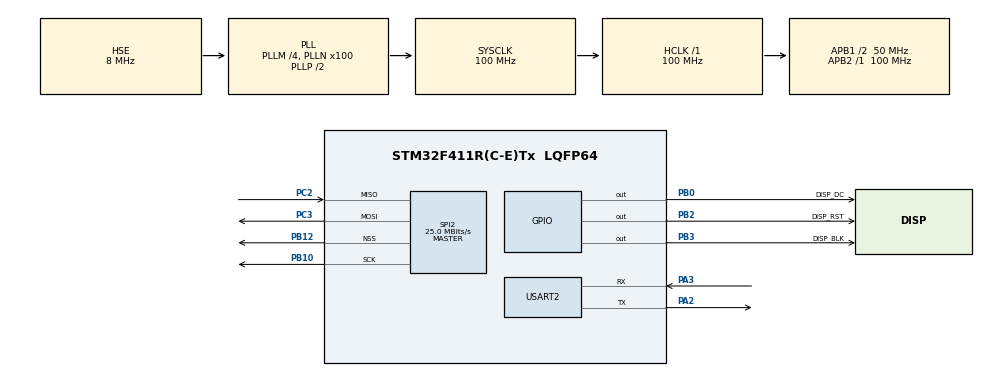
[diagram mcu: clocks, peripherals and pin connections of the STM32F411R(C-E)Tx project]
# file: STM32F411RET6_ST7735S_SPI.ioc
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Mcu.Family=STM32F4
Mcu.Name=STM32F411R(C-E)Tx
Mcu.Package=LQFP64
NVIC.PriorityGroup=NVIC_PRIORITYGROUP_4
NVIC.RCC_IRQn=true\:0\:0\:false\:false\:true\:true\:false\:true
NVIC.USART2_IRQn=true\:0\:0\:false\:false\:true\:true\:true\:true
PA2.Mode=Asynchronous
PA2.Signal=USART2_TX
PA3.Mode=Asynchronous
PA3.Signal=USART2_RX
PB0.GPIO_Label=DISP_DC
PB0.Signal=GPIO_Output
PB10.Mode=Full_Duplex_Master
PB10.Signal=SPI2_SCK
PB12.Mode=NSS_Signal_Hard_Output
PB12.Signal=SPI2_NSS
PB2.GPIO_Label=DISP_RST
PB2.Signal=GPIO_Output
PB3.GPIO_Label=DISP_BLK
PB3.Signal=GPIO_Output
PC2.Mode=Full_Duplex_Master
PC2.Signal=SPI2_MISO
PC3.Mode=Full_Duplex_Master
PC3.Signal=SPI2_MOSI
PH0\ -\ OSC_IN.Mode=HSE-External-Oscillator
PH0\ -\ OSC_IN.Signal=RCC_OSC_IN
PH1\ -\ OSC_OUT.Mode=HSE-External-Oscillator
PH1\ -\ OSC_OUT.Signal=RCC_OSC_OUT
ProjectManager.HeapSize=0x200
ProjectManager.StackSize=0x400
ProjectManager.TargetToolchain=STM32CubeIDE
RCC.48MHZClocksFreq_Value=50000000
RCC.AHBFreq_Value=100000000
RCC.APB1CLKDivider=RCC_HCLK_DIV2
RCC.APB1Freq_Value=50000000
RCC.APB1TimFreq_Value=100000000
RCC.APB2Freq_Value=100000000
RCC.APB2TimFreq_Value=100000000
RCC.CortexFreq_Value=100000000
RCC.HCLKFreq_Value=100000000
RCC.HSE_VALUE=8000000
RCC.HSI_VALUE=16000000
RCC.LSE_VALUE=32768
RCC.PLLM=4
RCC.PLLN=100
RCC.PLLSourceVirtual=RCC_PLLSOURCE_HSE
RCC.SYSCLKFreq_VALUE=100000000
RCC.SYSCLKSource=RCC_SYSCLKSOURCE_PLLCLK
RCC.VCOOutputFreq_Value=200000000
SPI2.CalculateBaudRate=25.0 MBits/s
SPI2.Direction=SPI_DIRECTION_2LINES
SPI2.Mode=SPI_MODE_MASTER
SPI2.VirtualNSS=VM_NSSHARD
SPI2.VirtualType=VM_MASTER
USART2.VirtualMode=VM_ASYNC
board=custom

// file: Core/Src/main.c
/* USER CODE BEGIN Header */
/**
 ******************************************************************************
 * @file           : main.c
 * @brief          : Main program body
 ******************************************************************************
 * @attention
 *
 * Copyright (c) 2024 STMicroelectronics.
 * All rights reserved.
 *
 * This software is licensed under terms that can be found in the LICENSE file
 * in the root directory of this software component.
 * If no LICENSE file comes with this software, it is provided AS-IS.
 *
 ******************************************************************************
 */
/* USER CODE END Header */
#include "main.h"

/* USER CODE BEGIN Includes */
#define PLATFORM_STM32_HAL

#include <xuart.h>
#include <display/ST7735S.h>

/* USER CODE END Includes */

SPI_HandleTypeDef hspi2;

UART_HandleTypeDef huart2;

/* USER CODE BEGIN PV */
UARTLogger logger(&huart2);

/* USER CODE END PV */

void SystemClock_Config(void);
static void MX_GPIO_Init(void);
static void MX_USART2_UART_Init(void);
static void MX_SPI2_Init(void);

int main(void)
{

  /* MCU Configuration--------------------------------------------------------*/

  /* Reset of all peripherals, Initializes the Flash interface and the Systick. */
  HAL_Init();

  /* Configure the system clock */
  SystemClock_Config();

  /* Initialize all configured peripherals */
  MX_GPIO_Init();
  MX_USART2_UART_Init();
  MX_SPI2_Init();
  /* USER CODE BEGIN 2 */
    /*HAL_GPIO_WritePin(GPIOB, GPIO_PIN_12, GPIO_PIN_RESET);
    HAL_GPIO_WritePin(DISP_DC_GPIO_Port, DISP_DC_Pin, GPIO_PIN_RESET);
    HAL_GPIO_WritePin(DISP_RST_GPIO_Port, DISP_RST_Pin, GPIO_PIN_SET);
    HAL_GPIO_WritePin(DISP_BLK_GPIO_Port, DISP_BLK_Pin, GPIO_PIN_RESET);*/
  HAL_GPIO_WritePin(DISP_BLK_GPIO_Port, DISP_BLK_Pin, GPIO_PIN_SET);
    HAL_Delay(1000);

    SPIConnectionParams spiParams { .CS_PORT = GPIOB, .CS_Pin = GPIO_PIN_12 };

    SPIPollingModeMaster spi(&hspi2, spiParams);
    ST7735InitParams params {
        .DC_PORT = DISP_DC_GPIO_Port,
        .RS_PORT = DISP_RST_GPIO_Port,
        .CS_PORT = GPIOB,
        .DC_Pin = DISP_DC_Pin,
        .RS_Pin = DISP_RST_Pin,
        .CS_Pin = GPIO_PIN_12,
    };
    ST7735S display(&spi, params);
    display.setColorMode(ST7735ColorMode::ColorMode16);
    display.init();
#define ST7735_X_SIZE                                                   128
#define ST7735_Y_SIZE                                                   160

  /* USER CODE END 2 */
    //display.drawRect(0, 0, ST7735_X_SIZE, ST7735_Y_SIZE, ST7735_COLOR_RED);
    /*for (int i = 0; i < 14; i += 2) {
        display.drawRectangle(ST7735_COLOR_RED, i * 10, 0, 10, 160);
        display.drawRectangle(ST7735_COLOR_BLUE, (i + 1) * 10, 0, 10, 160);
    }*/

    display.fillRectangle(ST7735_COLOR_16(0, 0xFF, 0xFF), 0, 0, ST7735_X_SIZE, ST7735_Y_SIZE);
    for (uint16_t x = 0; x < 100; ++x) {
        display.setPixel(ST7735_COLOR_16(0xFF, 0xFF, 0), x, x);
    }

    display.drawLine(ST7735_COLOR_16(0xFF, 0, 0), 15, 0, 45, 160);

  /* Infinite loop */
    while (1) {

    }
}

void SystemClock_Config(void)
{
  RCC_OscInitTypeDef RCC_OscInitStruct = {0};
  RCC_ClkInitTypeDef RCC_ClkInitStruct = {0};

  /** Configure the main internal regulator output voltage
  */
  __HAL_RCC_PWR_CLK_ENABLE();
  __HAL_PWR_VOLTAGESCALING_CONFIG(PWR_REGULATOR_VOLTAGE_SCALE1);

  /** Initializes the RCC Oscillators according to the specified parameters
  * in the RCC_OscInitTypeDef structure.
  */
  RCC_OscInitStruct.OscillatorType = RCC_OSCILLATORTYPE_HSE;
  RCC_OscInitStruct.HSEState = RCC_HSE_ON;
  RCC_OscInitStruct.PLL.PLLState = RCC_PLL_ON;
  RCC_OscInitStruct.PLL.PLLSource = RCC_PLLSOURCE_HSE;
  RCC_OscInitStruct.PLL.PLLM = 4;
  RCC_OscInitStruct.PLL.PLLN = 100;
  RCC_OscInitStruct.PLL.PLLP = RCC_PLLP_DIV2;
  RCC_OscInitStruct.PLL.PLLQ = 4;
  if (HAL_RCC_OscConfig(&RCC_OscInitStruct) != HAL_OK)
  {
    Error_Handler();
  }

  /** Initializes the CPU, AHB and APB buses clocks
  */
  RCC_ClkInitStruct.ClockType = RCC_CLOCKTYPE_HCLK|RCC_CLOCKTYPE_SYSCLK
                              |RCC_CLOCKTYPE_PCLK1|RCC_CLOCKTYPE_PCLK2;
  RCC_ClkInitStruct.SYSCLKSource = RCC_SYSCLKSOURCE_PLLCLK;
  RCC_ClkInitStruct.AHBCLKDivider = RCC_SYSCLK_DIV1;
  RCC_ClkInitStruct.APB1CLKDivider = RCC_HCLK_DIV2;
  RCC_ClkInitStruct.APB2CLKDivider = RCC_HCLK_DIV1;

  if (HAL_RCC_ClockConfig(&RCC_ClkInitStruct, FLASH_LATENCY_3) != HAL_OK)
  {
    Error_Handler();
  }
}

static void MX_SPI2_Init(void)
{

  /* SPI2 parameter configuration*/
  hspi2.Instance = SPI2;
  hspi2.Init.Mode = SPI_MODE_MASTER;
  hspi2.Init.Direction = SPI_DIRECTION_2LINES;
  hspi2.Init.DataSize = SPI_DATASIZE_8BIT;
  hspi2.Init.CLKPolarity = SPI_POLARITY_LOW;
  hspi2.Init.CLKPhase = SPI_PHASE_1EDGE;
  hspi2.Init.NSS = SPI_NSS_HARD_OUTPUT;
  hspi2.Init.BaudRatePrescaler = SPI_BAUDRATEPRESCALER_2;
  hspi2.Init.FirstBit = SPI_FIRSTBIT_MSB;
  hspi2.Init.TIMode = SPI_TIMODE_DISABLE;
  hspi2.Init.CRCCalculation = SPI_CRCCALCULATION_DISABLE;
  hspi2.Init.CRCPolynomial = 10;
  if (HAL_SPI_Init(&hspi2) != HAL_OK)
  {
    Error_Handler();
  }

}

static void MX_USART2_UART_Init(void)
{

  huart2.Instance = USART2;
  huart2.Init.BaudRate = 115200;
  huart2.Init.WordLength = UART_WORDLENGTH_8B;
  huart2.Init.StopBits = UART_STOPBITS_1;
  huart2.Init.Parity = UART_PARITY_NONE;
  huart2.Init.Mode = UART_MODE_TX_RX;
  huart2.Init.HwFlowCtl = UART_HWCONTROL_NONE;
  huart2.Init.OverSampling = UART_OVERSAMPLING_16;
  if (HAL_UART_Init(&huart2) != HAL_OK)
  {
    Error_Handler();
  }

}

static void MX_GPIO_Init(void)
{
  GPIO_InitTypeDef GPIO_InitStruct = {0};

  /* GPIO Ports Clock Enable */
  __HAL_RCC_GPIOH_CLK_ENABLE();
  __HAL_RCC_GPIOC_CLK_ENABLE();
  __HAL_RCC_GPIOA_CLK_ENABLE();
  __HAL_RCC_GPIOB_CLK_ENABLE();

  /*Configure GPIO pin Output Level */
  HAL_GPIO_WritePin(GPIOB, DISP_DC_Pin|DISP_RST_Pin|DISP_BLK_Pin, GPIO_PIN_RESET);

  /*Configure GPIO pins : DISP_DC_Pin DISP_RST_Pin DISP_BLK_Pin */
  GPIO_InitStruct.Pin = DISP_DC_Pin|DISP_RST_Pin|DISP_BLK_Pin;
  GPIO_InitStruct.Mode = GPIO_MODE_OUTPUT_PP;
  GPIO_InitStruct.Pull = GPIO_NOPULL;
  GPIO_InitStruct.Speed = GPIO_SPEED_FREQ_LOW;
  HAL_GPIO_Init(GPIOB, &GPIO_InitStruct);

}

void Error_Handler(void)
{
    __disable_irq();
    while (1) {
    }
}
